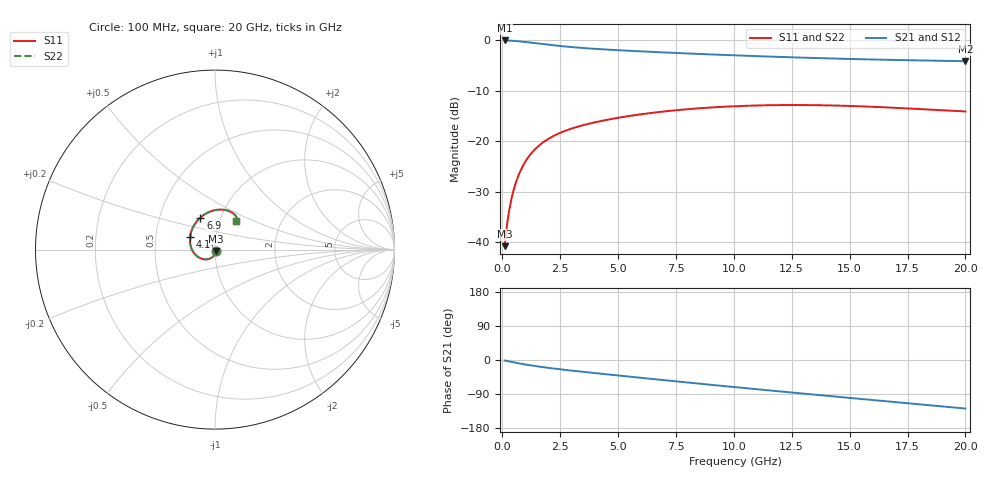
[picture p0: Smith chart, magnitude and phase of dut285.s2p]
! Created with skrf 1.9.0 (http://scikit-rf.org).
# GHz S RI R 50.0
!freq ReS11 ImS11 ReS21 ImS21 ReS12 ImS12 ReS22 ImS22
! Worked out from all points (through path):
!   200 points, 100 MHz to 20 GHz, reference 50 ohm
!   highest |S21| = -0.06 dB at 100 MHz (marker M1); lowest = -4.2 dB at 20 GHz (marker M2)
!   group delay of S21, straight-line fit = 16.8 ps
!   lowest |S11| = -40.7 dB at 100 MHz (marker M3), VSWR 1.02, Z = 50.6 - j0.717 ohm
!   |S11| at or under -10 dB: start of sweep to end of sweep
!   |S22| runs from -40.7 to -12.8 dB; largest |S21 - S12| = 2.4e-15
!   S11 on the Smith chart (normalised r, x): 100 MHz: 1.01, -0.01; 4.1 GHz: 0.75, +0.11; 6.9 GHz: 0.80, +0.30; 20 GHz: 1.20, +0.39
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0.1  0.00584 -0.00708  0.993 -0.0221  0.993 -0.0221  0.00584 -0.00708
0.2  0.00443 -0.0141  0.991 -0.0439  0.991 -0.0439  0.00443 -0.0141
0.3  0.00207 -0.0209  0.9877 -0.0654  0.9877 -0.0654  0.00207 -0.0209
0.4  -0.0012 -0.0273  0.9832 -0.0863  0.9832 -0.0863  -0.0012 -0.0273
0.5  -0.00534 -0.0332  0.9778 -0.1066  0.9778 -0.1066  -0.00534 -0.0332
0.7  -0.0158 -0.0431  0.9641 -0.1451  0.9641 -0.1451  -0.0158 -0.0431
0.8  -0.0218 -0.047  0.9562 -0.1632  0.9562 -0.1632  -0.0218 -0.047
1  -0.0351 -0.0524  0.9387 -0.1968  0.9387 -0.1968  -0.0351 -0.0524
1.4  -0.0629 -0.0537  0.9001 -0.2542  0.9001 -0.2542  -0.0629 -0.0537
1.9  -0.0939 -0.0414  0.851 -0.3108  0.851 -0.3108  -0.0939 -0.0414
2.6  -0.1235 -0.00934  0.7872 -0.3719  0.7872 -0.3719  -0.1235 -0.00934
3.5  -0.139 0.0395  0.7142 -0.4347  0.7142 -0.4347  -0.139 0.0395
4.1  -0.1387 0.0711  0.6686 -0.4713  0.6686 -0.4713  -0.1387 0.0711
5.5  -0.1175 0.1339  0.5644 -0.5449  0.5644 -0.5449  -0.1175 0.1339
6.8  -0.0838 0.1762  0.467 -0.5986  0.467 -0.5986  -0.0838 0.1762
6.9  -0.0809 0.1788  0.4594 -0.6022  0.4594 -0.6022  -0.0809 0.1788
8.5  -0.0325 0.2095  0.3385 -0.6474  0.3385 -0.6474  -0.0325 0.2095
10.1  0.0144 0.222  0.2193 -0.6718  0.2193 -0.6718  0.0144 0.222
11.7  0.0548 0.221  0.1044 -0.6779  0.1044 -0.6779  0.0548 0.221
13.4  0.0878 0.2102  -0.0113 -0.6667  -0.0113 -0.6667  0.0878 0.2102
16.7  0.1205 0.179  -0.2138 -0.6017  -0.2138 -0.6017  0.1205 0.179
20  0.1195 0.1567  -0.3827 -0.4877  -0.3827 -0.4877  0.1195 0.1567
